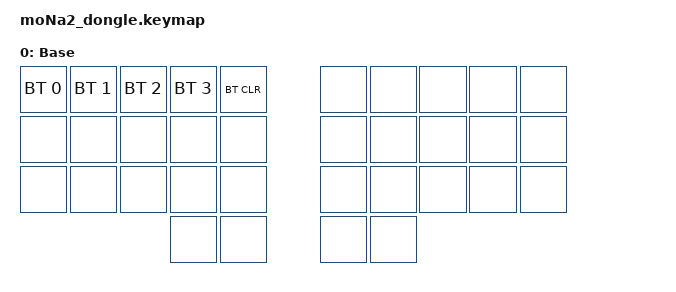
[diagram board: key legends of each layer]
/*
 * moNa2 Dongle Keymap - Minimal keymap for dongle device
 * Based on forager dongle implementation
 */

#include <behaviors.dtsi>
#include <dt-bindings/zmk/keys.h>
#include <dt-bindings/zmk/bt.h>

/ {
    keymap {
        compatible = "zmk,keymap";

        default_layer {
            display-name = "Base";
            bindings = <
                &bt BT_SEL 0 &bt BT_SEL 1 &bt BT_SEL 2 &bt BT_SEL 3 &bt BT_CLR                &none &none &none &none &none
                &none        &none        &none        &none        &none                      &none &none &none &none &none
                &none        &none        &none        &none        &none                      &none &none &none &none &none
                                                       &none        &none      &none &none
            >;
        };
    };
};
